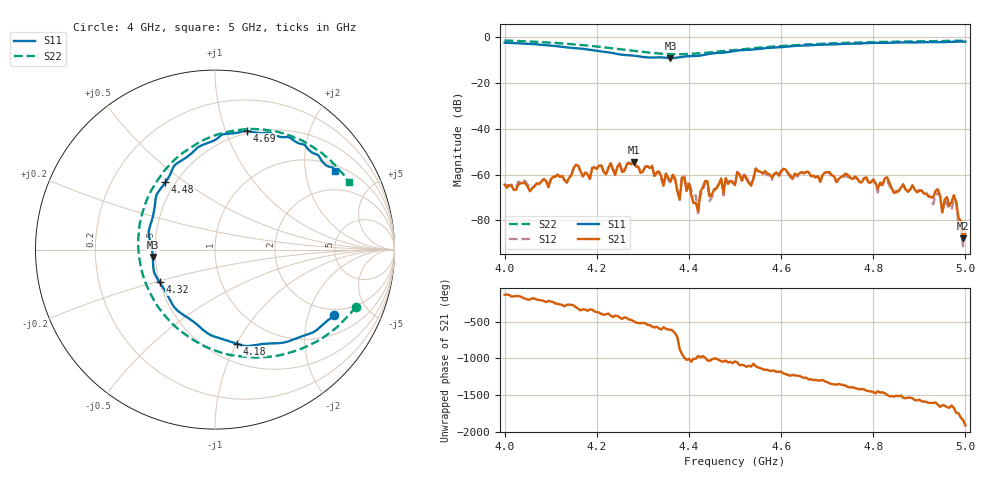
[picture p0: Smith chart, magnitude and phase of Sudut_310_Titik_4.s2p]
# Hz S RI R 50
! CMT, C1220, 16058040, 17.2.0/1
! Date: 15/08/2018 12:34:20
! Data: Format (Calibration Info)
! Freq  S11: Re/Im (F2)  S21: Re/Im (F2)  S12: Re/Im (F2)  S22: Re/Im (F2)
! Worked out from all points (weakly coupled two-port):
!   201 points, 4 GHz to 5 GHz, reference 50 ohm
!   highest |S21| = -54.50 dB at 4.28 GHz (marker M1); lowest = -87.8 dB at 4.995 GHz (marker M2)
!   lowest |S11| = -9.1 dB at 4.36 GHz (marker M3), VSWR 2.07, Z = 24.2 - j2.25 ohm
!   |S11| at or under -10 dB: nowhere
!   |S22| runs from -7.5 to -1.5 dB; largest |S21 - S12| = 0.00016
!   S11 on the Smith chart (normalised r, x): 4 GHz: 1.72, -2.96; 4.18 GHz: 0.68, -1.00; 4.32 GHz: 0.50, -0.21; 4.48 GHz: 0.44, +0.42; 4.69 GHz: 0.48, +1.19; 5 GHz: 1.22, +2.89
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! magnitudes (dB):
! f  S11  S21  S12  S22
! 4 GHz  -2.4  -64.4  -64.5  -1.5
! 4.17 GHz  -5.1  -60.8  -60.7  -3.5
! 4.18 GHz  -5.4  -59.8  -59.1  -3.7
! 4.28 GHz  -8.1  -54.5  -54.2  -6.0
! 4.32 GHz  -8.9  -56.4  -55.9  -6.9
! 4.335 GHz  -8.8  -58.6  -59.3  -7.1
! 4.36 GHz  -9.1  -62.9  -63.3  -7.4
! 4.38 GHz  -8.8  -71.0  -67.7  -7.5
! 4.4 GHz  -8.3  -64.0  -62.8  -7.3
! 4.42 GHz  -8.2  -75.7  -77.9  -7.1
! 4.435 GHz  -7.6  -62.9  -63.6  -6.9
! 4.445 GHz  -7.3  -69.6  -71.5  -6.7
! 4.48 GHz  -6.6  -61.5  -61.2  -6.0
! 4.5 GHz  -6.0  -64.6  -63.6  -5.6
! 4.67 GHz  -3.5  -60.5  -60.7  -3.1
! 4.69 GHz  -3.3  -60.2  -60.4  -2.9
! 4.835 GHz  -2.5  -63.5  -64.7  -2.0
! 4.94 GHz  -2.2  -66.3  -67.9  -1.7
! 4.95 GHz  -2.2  -76.5  -76.6  -1.7
! 4.975 GHz  -2.0  -69.0  -71.1  -1.6
! 4.995 GHz  -2.0  -87.8  -91.2  -1.6
! 5 GHz  -2.0  -85.4  -82.2  -1.6
